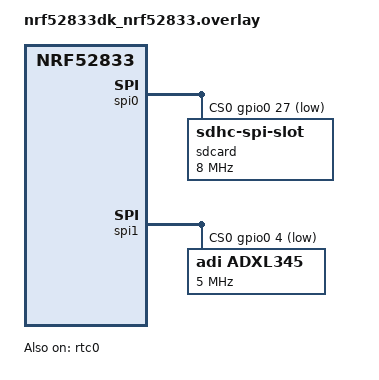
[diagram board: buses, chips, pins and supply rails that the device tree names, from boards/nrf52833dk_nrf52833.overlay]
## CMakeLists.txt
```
#
# Copyright (c) 2024 Nordic Semiconductor
#
# SPDX-License-Identifier: LicenseRef-Nordic-5-Clause
#

cmake_minimum_required(VERSION 3.20.0)
find_package(Zephyr REQUIRED HINTS $ENV{ZEPHYR_BASE})
project(nrf_connect_sdk_intermediate)

target_sources(app PRIVATE
    src/main.c
    src/adxl345.c
    src/sd_card.c
    )
target_include_directories(app PRIVATE ${CMAKE_CURRENT_SOURCE_DIR}/include)
```

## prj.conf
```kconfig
CONFIG_SPI=y
CONFIG_DISK_ACCESS=y
# CONFIG_DISK_ACCESS_sSDMMC=y



CONFIG_FILE_SYSTEM=y
CONFIG_DISK_DRIVERS=y

CONFIG_FS_FATFS_LFN=y
# CONFIG_FS_FATFS_MOUNT=y
CONFIG_FS_FATFS_MOUNT_MKFS=y
CONFIG_FAT_FILESYSTEM_ELM=y


CONFIG_LOG=y
CONFIG_LOG_DEFAULT_LEVEL=3

CONFIG_MAIN_STACK_SIZE=4096

CONFIG_COUNTER=y
```

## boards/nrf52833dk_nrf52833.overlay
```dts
/* STEP 2.1 - Add the SPI peripheral to spi1 */
&i2c0 {status = "disabled";};
// &spi0 {status = "disabled";};
&i2c1 {status = "disabled";};

&rtc0 {
	status = "okay";
};

	// SPI pin configuration
// SPI0 is used for SD card, SPI1 is used for ADXL345 accelerometer
// SPI0: SCK on P0.23, MOSI on P0.2, MISO on P0.26, CS on P0.27
// SPI1: SCK on P0.31, MOSI on P0.30, MISO on P0.29, CS on P0.28

	&spi0 {
		status = "okay";
		cs-gpios = <&gpio0 27 GPIO_ACTIVE_LOW>;
	
		sdcard: spi-dev@0 {
			compatible = "zephyr,sdhc-spi-slot";
			reg = <0>;
			spi-max-frequency = <8000000>; // try between 400kHz - 25MHz
			status = "okay";
	
			mmc {
				compatible = "zephyr,sdmmc-disk";
				disk-name = "SD";
				status = "okay";
			};
		};
	};

&pinctrl {
	spi0_default: spi0_default {
		group1 {
			psels = <NRF_PSEL(SPIM_SCK, 0, 23)>,
			        <NRF_PSEL(SPIM_MOSI, 0, 20)>,
			        <NRF_PSEL(SPIM_MISO, 0, 26)>;
		};
	};

	spi0_sleep: spi0_sleep {
		group1 {
			psels = <NRF_PSEL(SPIM_SCK, 0, 23)>,
			        <NRF_PSEL(SPIM_MOSI, 0, 20)>,
			        <NRF_PSEL(SPIM_MISO, 0, 26)>;
			low-power-enable;
		};
	};
};


&spi1 {
	status = "okay";
	cs-gpios = <&gpio0 4 GPIO_ACTIVE_LOW>; // CS on P0.28

	adxl345: adxl345@0 {
		compatible = "adi,adxl345";
		reg = <0>;  // CS index
		spi-max-frequency = <5000000>; // 5 MHz
		label = "ADXL345";
		spi-cpha;
		spi-cpol;
		interrupt-parent = <&gpio0>;
		// interrupts = <15 GPIO_ACTIVE_HIGH>; // Optional: if using INT1
	};
};

&pinctrl {
	spi1_default: spi1_default {
		group1 {
				psels = <NRF_PSEL(SPIM_SCK, 0, 31)>,
						<NRF_PSEL(SPIM_MOSI, 0, 30)>,
						<NRF_PSEL(SPIM_MISO, 0, 29)>;
		};
	};

	spi1_sleep: spi1_sleep {
		group1 {
				psels = <NRF_PSEL(SPIM_SCK, 0, 31)>,
						<NRF_PSEL(SPIM_MOSI, 0, 30)>,
						<NRF_PSEL(SPIM_MISO, 0, 29)>;
				low-power-enable;
		};
	};
};
```

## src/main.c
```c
#include <zephyr/kernel.h>
#include <zephyr/logging/log.h>

#include <zephyr/device.h>
#include <zephyr/devicetree.h>
#include <zephyr/drivers/gpio.h>

#include "sd_card.h"
#include "adxl345.h"

#include <zephyr/drivers/counter.h>

#define SAMPLE_INTERVAL_US 500  // 800 us = 1.745 kHz

K_SEM_DEFINE(sample_now_sem, 0, 1);

const struct device *counter_dev;


/*
 * SD Card SPI Pin Mapping
 * ------------------------
 * | SD Card Pin | nRF52 Pin |
 * |-------------|------------|
 * | CS          | P0.27      |
 * | SCK         | P0.23      |
 * | MOSI        | P0.20      |
 * | MISO        | P0.26      |
 * | VCC         | 3.3V       |
 * | GND         | GND        |
 *
 * Note:
 * - Ensure VCC is a stable 3.3V (not 3.0V or lower).
 * - Common ground between SD card and nRF52833 is essential.
 * - Pull-up resistors on SD lines are usually not needed for SPI mode.
 */

 /*
 * ADXL345 to nRF52833 SPI Pin Mapping
 *
 * | ADXL345 Pin | nRF52833 Pin     | Notes                  |
 * |-------------|------------------|------------------------|
 * | VCC         | 3.3V             | Use VDD from nRF52833  |
 * | GND         | GND              | Common ground          |
 * | CS          | P0.04            | Controlled by software |
 * | SCL (SCLK)  | P0.31            | SPI clock              |
 * | SDA (MOSI)  | P0.30            | Data from nRF to ADXL  |
 * | SDO (MISO)  | P0.29            | Data from ADXL to nRF  |
 * | INT1        | P0.15 (optional) | If using interrupts    |
 * | INT2        | -                | Not used               |
 */

 LOG_MODULE_REGISTER(interrupt_sampling, LOG_LEVEL_INF);

 static void sample_timer_handler(const struct device *dev,
    uint8_t chan_id,
    uint32_t ticks,
    void *user_data)
{
    ARG_UNUSED(dev);
    ARG_UNUSED(chan_id);
    ARG_UNUSED(ticks);
    ARG_UNUSED(user_data);

    k_sem_give(&sample_now_sem);
    // LOG_INF("Sample timer triggered, re-arming alarm");

    // Re-arm the alarm
    uint32_t now_ticks;
    counter_get_value(counter_dev, &now_ticks);

    struct counter_alarm_cfg alarm_cfg = {
        .ticks = counter_us_to_ticks(counter_dev, SAMPLE_INTERVAL_US) + now_ticks,
        .callback = sample_timer_handler,
        .user_data = NULL,
        .flags = COUNTER_ALARM_CFG_ABSOLUTE,
    };

    int err = counter_set_channel_alarm(counter_dev, chan_id, &alarm_cfg);
    if (err != 0) {
        LOG_ERR("Failed to re-set counter alarm: %d", err);
    }
}



// Buffer sizes and definitions

#define SAMPLE_SIZE 15  // 4 bytes k_cycle + 4 bytes uptime + 3x int16_t + 1 byte checksum = 15 bytes
#define BUFFER_SIZE (SAMPLE_SIZE * 100)  // 100 samples per buffer
#define DELAY_VALUES 1  // Delay in milliseconds

static uint8_t buffer_a[BUFFER_SIZE];
static uint8_t buffer_b[BUFFER_SIZE];

static uint8_t *active_buf = buffer_a;
static uint8_t *flush_buf = buffer_b;

static volatile size_t active_index = 0;
static struct k_sem flush_sem;  // Used to signal SD writer
static struct k_mutex buffer_swap_mutex;
static struct k_sem sd_ready_sem;


// Sampling Thread Configuration
#define STACK_SIZE 2048
#define SAMPLING_THREAD_PRIORITY 4

#define SD_WRITER_STACK_SIZE 2048
#define SD_WRITER_THREAD_PRIORITY 5

K_THREAD_STACK_DEFINE(sampling_stack, STACK_SIZE);
static struct k_thread sampling_thread_data;

// Button interrupt configuration
#define BUTTON_NODE DT_ALIAS(sw0)
static const struct gpio_dt_spec button = GPIO_DT_SPEC_GET(BUTTON_NODE, gpios);
static struct gpio_callback button_cb_data;
volatile bool button_pressed = false;

K_SEM_DEFINE(button_sem, 0, 1);

void button_pressed_isr(const struct device *dev, struct gpio_callback *cb, uint32_t pins)
{
    button_pressed = true;
    LOG_INF("Button pressed! Pin: %d", button.pin);
    k_sem_give(&button_sem);
}

void sd_writer_thread(void *p1, void *p2, void *p3)
{
    LOG_INF("SD writer thread started");
    k_sem_take(&sd_ready_sem, K_FOREVER);  // ✅ Wait until SD is ready
    LOG_INF("SD writer thread is ready to write");

    while (1) {
        k_sem_take(&flush_sem, K_FOREVER);

        int rc = fs_write(&file, flush_buf, BUFFER_SIZE);
        if (rc < 0) {
            LOG_ERR("Failed to write to SD: %d", rc);
        }

        // Sync the file to ensure data is written
        fs_sync(&file);  // Flush to disk after write
    }
}

// ✅ Start background SD writer thread
K_THREAD_DEFINE(sd_tid, SD_WRITER_STACK_SIZE, sd_writer_thread, NULL, NULL, NULL, SD_WRITER_THREAD_PRIORITY, 0, 0);


#define DISCARD_SAMPLE_COUNT 10

void sampling_thread(void *arg1, void *arg2, void *arg3)
{
    int16_t x, y, z;
    uint32_t sample_count = 0;
    int64_t start_time = k_uptime_get();

     // 🔁 Discard the first N samples (noise filter)
     for (int i = 0; i < DISCARD_SAMPLE_COUNT; ++i) {
        if (adxl345_read_xyz(&x, &y, &z) == 0) {
            // Optional: LOG_DBG("Discarded sample %d: X=%d Y=%d Z=%d", i, x, y, z);
        }
        k_msleep(DELAY_VALUES);  // or k_busy_wait(312) for 3.2 kHz
    }

    while (!button_pressed) {
        // LOG_INF("Waiting for sample timer...");
        k_sem_take(&sample_now_sem, K_FOREVER);  // Wait for timer
        if (adxl345_read_xyz(&x, &y, &z) == 0) {
            k_mutex_lock(&buffer_swap_mutex, K_FOREVER);
            

            // LOG_INF("Sample %d: X: %d, Y: %d, Z: %d", sample_count, x, y, z);
            sample_count++;

            uint32_t cycle_ts = k_cycle_get_32();      // High-resolution timestamp
            uint32_t uptime_ts = k_uptime_get_32();    // Millisecond timestamp

            // LOG_INF("Hit sample");
            if (active_index + SAMPLE_SIZE <= BUFFER_SIZE) {
                uint8_t temp_buf[14];  // 4 + 4 + 6 = 14 bytes for CRC calc
                int idx = 0;

                // Add timestamps
                temp_buf[idx++] = cycle_ts & 0xFF;
                temp_buf[idx++] = (cycle_ts >> 8) & 0xFF;
                temp_buf[idx++] = (cycle_ts >> 16) & 0xFF;
                temp_buf[idx++] = (cycle_ts >> 24) & 0xFF;

                temp_buf[idx++] = uptime_ts & 0xFF;
                temp_buf[idx++] = (uptime_ts >> 8) & 0xFF;
                temp_buf[idx++] = (uptime_ts >> 16) & 0xFF;
                temp_buf[idx++] = (uptime_ts >> 24) & 0xFF;

                // Add XYZ
                temp_buf[idx++] = x & 0xFF;
                temp_buf[idx++] = (x >> 8) & 0xFF;
                temp_buf[idx++] = y & 0xFF;
                temp_buf[idx++] = (y >> 8) & 0xFF;
                temp_buf[idx++] = z & 0xFF;
                temp_buf[idx++] = (z >> 8) & 0xFF;

                // Compute XOR checksum
                uint8_t checksum = 0;
                for (int i = 0; i < sizeof(temp_buf); i++) {
                    checksum ^= temp_buf[i];
                }

                // Copy to buffer
                for (int i = 0; i < sizeof(temp_buf); i++) {
                    active_buf[active_index++] = temp_buf[i];
                }

                active_buf[active_index++] = checksum;  // Append checksum
            } else {
                LOG_ERR("Buffer overflow! Active index: %d", active_index);
                // Optional: Trigger early flush
            }

            if (active_index >= BUFFER_SIZE) {
                uint8_t *temp = active_buf;
                active_buf = flush_buf;
                flush_buf = temp;
                active_index = 0;
                k_sem_give(&flush_sem);  // Signal writer thread
            }

            k_mutex_unlock(&buffer_swap_mutex);
        } else {
            LOG_ERR("Failed to read XYZ");
        }

        // For ~1 kHz sampling (adjust as needed)
        // k_msleep(DELAY_VALUES);  // or k_busy_wait(312) for 3.2 kHz
        // LOG_INF("Sample %d taken", sample_count);
    }

    int64_t elapsed = k_uptime_get() - start_time;
    LOG_INF("Samples per second: %d", (1000 * sample_count) / elapsed);
    LOG_INF("Total samples: %d", sample_count);
}

void main(void)
{
    k_sem_init(&sd_ready_sem, 0, 1);

    if (!device_is_ready(button.port)) {
        LOG_ERR("Button device %s is not ready", button.port->name);
        return;
    }
    
    int ret = gpio_pin_configure_dt(&button, GPIO_INPUT);
    if (ret != 0) {
        LOG_ERR("Failed to configure button pin: %d", ret);
        return;
    }
    
    ret = gpio_pin_interrupt_configure_dt(&button, GPIO_INT_EDGE_TO_ACTIVE);
    if (ret != 0) {
        LOG_ERR("Failed to configure interrupt on button pin: %d", ret);
        return;
    }
    
    gpio_init_callback(&button_cb_data, button_pressed_isr, BIT(button.pin));
    gpio_add_callback(button.port, &button_cb_data);
    
    LOG_INF("Button interrupt configured");

    int err;
	
	err = check_spi_ready();
    if (err != 0) {
        LOG_ERR("SPI device not ready!");
        return;
    }

	LOG_INF("SPI device is ready ");

    if (adxl345_init() != 0) {
        LOG_ERR("Sensor init failed\n");
        // return -1;
    }

    int rc = disk_access_init("SD");
    if (rc != 0) {
        LOG_ERR("Disk init error %d\n", rc);
        return;
    }

    memset(&fat_fs, 0, sizeof(fat_fs));

    // delay to allow the SD card to stabilize
    k_msleep(1000);

    const struct device *sd_dev = DEVICE_DT_GET(DT_NODELABEL(sdcard));
    if (!device_is_ready(sd_dev)) {
        LOG_ERR("SD card device not ready!\n");
        return;
    }
    
    rc = fs_mount(&fatfs_mnt);
    if (rc == 0) {
        LOG_INF("SD card mounted at %s\n", fatfs_mnt.mnt_point);
    } else {
        LOG_ERR("Failed to mount SD card: %d\n", rc);
        return;
    }

    ret = fs_unlink("/SD:/test.bin");
    if (ret == 0) {
        LOG_INF("File deleted successfully.");
    } else {
        LOG_ERR("Failed to delete file: %d", ret);
    }

    fs_file_t_init(&file);
    rc = fs_open(&file, "/SD:/test.bin", FS_O_CREATE | FS_O_WRITE | FS_O_APPEND);
    

    k_sem_give(&sd_ready_sem);  // ✅ Signal SD writer thread to proceed
    LOG_INF("SD writer thread started and ready to write");

    // ✅ Init semaphores and mutexes
    k_sem_init(&flush_sem, 0, 1);
    k_mutex_init(&buffer_swap_mutex);

    counter_dev = DEVICE_DT_GET(DT_INST(0, nordic_nrf_rtc));  // rtc0

    if (!device_is_ready(counter_dev)) {
        LOG_ERR("Counter device not ready");
        return;
    }

    struct counter_alarm_cfg alarm_cfg = {
        .ticks = counter_us_to_ticks(counter_dev, SAMPLE_INTERVAL_US),
        .callback = sample_timer_handler,
        .user_data = NULL,
        .flags = COUNTER_ALARM_CFG_ABSOLUTE,
    };

    err = counter_start(counter_dev);
    if (err != 0) {
        LOG_ERR("Failed to start counter: %d", err);
        return;
    }

    err = counter_set_channel_alarm(counter_dev, 0, &alarm_cfg);
    if (err != 0) {
        LOG_ERR("Failed to set counter alarm: %d", err);
        return;
    }

    LOG_INF("Sampling timer started at %d us interval", SAMPLE_INTERVAL_US);


    // Create the sampling thread
    k_thread_create(&sampling_thread_data, sampling_stack,
        K_THREAD_STACK_SIZEOF(sampling_stack),
        sampling_thread,
        NULL, NULL, NULL,
        SAMPLING_THREAD_PRIORITY, 0, K_NO_WAIT);

    LOG_INF("Sampling thread started");

    // Wait forever until button is pressed
    k_sem_take(&button_sem, K_FOREVER);

    LOG_INF("Button pressed, exiting main loop.");
    fs_unmount(&fatfs_mnt);
    LOG_INF("Unmounted SD card.");
    gpio_remove_callback(button.port, &button_cb_data);
    LOG_INF("Button callback removed.");
    // Optionally, you can also close the file if it was opened
    fs_file_t_init(&file);
    fs_close(&file);
    LOG_INF("File closed.");
    // Optionally, you can also unmount the filesystem
    // fs_unmount(&fatfs_mnt);
    LOG_INF("Filesystem unmounted.");
    // Optionally, you can also reset the ADXL345 sensor
    // adxl345_write_reg(ADXL345_POWER_CTL_REG, 0x00); // Power down
    // LOG_INF("ADXL345 sensor powered down.");
    // Optionally, you can also reset the SPI device
    release_spi();
    LOG_INF("SPI device released.");
    // Optionally, you can also reset the SD card device
    const struct device *sdcard_dev = DEVICE_DT_GET(DT_NODELABEL(sdcard));
    if (device_is_ready(sdcard_dev)) {
        // Reset or reinitialize the SD card device if needed
        LOG_INF("SD card device is ready for reset.");
    } else {
        LOG_ERR("SD card device is not ready for reset.");
    }
    LOG_INF("Main function completed.");
    // Optionally, you can also reset the button device
    const struct device *button_dev = button.port;
    if (device_is_ready(button_dev)) {
        // Reset or reinitialize the button device if needed
        LOG_INF("Button device is ready for reset.");
    } else {
        LOG_ERR("Button device is not ready for reset.");
    }
    LOG_INF("Button device reset completed.");
    // Optionally, you can also reset the GPIO subsystem
    const struct device *gpio_dev = DEVICE_DT_GET(DT_NODELABEL(gpio0));
    if (device_is_ready(gpio_dev)) {
        // Reset or reinitialize the GPIO subsystem if needed
        LOG_INF("GPIO subsystem is ready for reset.");
    } else {
        LOG_ERR("GPIO subsystem is not ready for reset.");
    }
    LOG_INF("GPIO subsystem reset completed.");   
}
```

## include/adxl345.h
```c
#pragma once

#include <zephyr/device.h>
#include <zephyr/drivers/spi.h>

#define ADXL345_DEVID_REG       0x00
#define ADXL345_POWER_CTL_REG   0x2D
#define ADXL345_DATA_FORMAT_REG 0x31
#define ADXL345_BW_RATE_REG     0x2C

// #define ADXL345_DEVID           0xE5
#define ADXL345_DEVID           0xCB
#define ADXL345_MEASURE         0x08
#define ADXL345_RANGE_2G        0x00
#define ADXL345_RATE_100HZ      0x0A  // Output Data Rate = 100 Hz
#define ADXL345_RATE_3200HZ     0x0F  // Output Data Rate =  3200 Hz


#define SPIOP	SPI_WORD_SET(8) | SPI_TRANSFER_MSB
#define ADXL345_REG_DATAX0 0x32
#define ADXL345_READ_MULTI (1 << 7 | 1 << 6)  // bit7=Read, bit6=Multi-byte

// struct spi_dt_spec spispec;
int check_spi_ready(void);
int release_spi(void);

int adxl345_spi_read_reg(uint8_t reg_addr, uint8_t *val);
int adxl345_read_xyz(int16_t *x, int16_t *y, int16_t *z);
int adxl345_write_reg(uint8_t reg, uint8_t val);
int adxl345_read_reg(uint8_t reg, uint8_t *val);
int adxl345_init(void);
```

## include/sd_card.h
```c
#pragma once

#include <zephyr/device.h>
#include <zephyr/drivers/spi.h>
#include <zephyr/fs/fs.h>
#include <zephyr/storage/disk_access.h>
#include <ff.h>

// Only declarations here!
extern FATFS fat_fs;
extern struct fs_file_t file;
extern struct fs_mount_t fatfs_mnt;
```

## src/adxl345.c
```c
#include "adxl345.h"
#include <zephyr/kernel.h>
#include <zephyr/logging/log.h>
LOG_MODULE_REGISTER(adxl345, LOG_LEVEL_DBG);



struct spi_dt_spec spispec = SPI_DT_SPEC_GET(DT_NODELABEL(adxl345), SPIOP, 0);

int check_spi_ready(void)
{
    if (!spi_is_ready_dt(&spispec)) {
        LOG_ERR("SPI device not ready!");
        return -ENODEV;
    }
    return 0;
}

int release_spi(void)
{
    spi_release_dt(&spispec);
    LOG_INF("SPI device released.");
    return 0;
}


int adxl345_spi_read_reg(uint8_t reg_addr, uint8_t *val)
{
    uint8_t tx_buf[2] = { reg_addr | 0x80, 0x00 };  // Set read bit
    uint8_t rx_buf[2] = { 0 };

    struct spi_buf tx = {
        .buf = tx_buf,
        .len = 2
    };
    struct spi_buf rx = {
        .buf = rx_buf,
        .len = 2
    };

    struct spi_buf_set tx_set = {
        .buffers = &tx,
        .count = 1
    };
    struct spi_buf_set rx_set = {
        .buffers = &rx,
        .count = 1
    };

    int ret = spi_transceive_dt(&spispec, &tx_set, &rx_set);
    if (ret == 0) {
        *val = rx_buf[1];  // second byte is data
    }
    return ret;
}

int adxl345_read_xyz(int16_t *x, int16_t *y, int16_t *z)
{
    uint8_t tx_buf[7] = { ADXL345_REG_DATAX0 | ADXL345_READ_MULTI };  // 1-byte cmd + 6 dummy
    uint8_t rx_buf[7] = { 0 };

    struct spi_buf tx = {
        .buf = tx_buf,
        .len = 7
    };
    struct spi_buf rx = {
        .buf = rx_buf,
        .len = 7
    };

    struct spi_buf_set tx_set = { .buffers = &tx, .count = 1 };
    struct spi_buf_set rx_set = { .buffers = &rx, .count = 1 };

    int ret = spi_transceive_dt(&spispec, &tx_set, &rx_set);
    if (ret != 0) {
        return ret;
    }

    // Combine little-endian bytes
    *x = (int16_t)((rx_buf[2] << 8) | rx_buf[1]);
    *y = (int16_t)((rx_buf[4] << 8) | rx_buf[3]);
    *z = (int16_t)((rx_buf[6] << 8) | rx_buf[5]);

    return 0;
}

int adxl345_write_reg(uint8_t reg, uint8_t val)
{
    uint8_t tx_buf[] = { reg & 0x3F, val };  // Write command
    struct spi_buf tx = { .buf = tx_buf, .len = 2 };
    struct spi_buf_set tx_set = { .buffers = &tx, .count = 1 };
    return spi_write_dt(&spispec, &tx_set);
}

int adxl345_read_reg(uint8_t reg, uint8_t *val)
{
    uint8_t tx_buf[2] = { reg | 0x80, 0x00 };  // Read command
    uint8_t rx_buf[2] = { 0 };

    struct spi_buf tx = { .buf = tx_buf, .len = 2 };
    struct spi_buf rx = { .buf = rx_buf, .len = 2 };
    struct spi_buf_set tx_set = { .buffers = &tx, .count = 1 };
    struct spi_buf_set rx_set = { .buffers = &rx, .count = 1 };

    int ret = spi_transceive_dt(&spispec, &tx_set, &rx_set);
    if (ret == 0) *val = rx_buf[1];
    return ret;
}

int adxl345_init(void)
{
    if (!spi_is_ready_dt(&spispec)) {
        LOG_ERR("SPI device not ready!\n");
        return -ENODEV;
    }

    uint8_t devid;
    int ret = adxl345_read_reg(ADXL345_DEVID_REG, &devid);
    if (ret != 0 || devid != ADXL345_DEVID) {
        LOG_ERR("ADXL345 not detected! Read 0x%02X\n", devid);
        return -EIO;
    }

    LOG_INF("ADXL345 detected. DEVID: 0x%02X\n", devid);

    // Set BW_RATE to 100 Hz
    if (adxl345_write_reg(ADXL345_BW_RATE_REG, ADXL345_RATE_3200HZ)) {
        LOG_ERR("Failed to set BW_RATE\n");
        return -EIO;
    }

    // Set data format to ±2g, right-justified, full-res disabled
    if (adxl345_write_reg(ADXL345_DATA_FORMAT_REG, ADXL345_RANGE_2G)) {
        LOG_ERR("Failed to set data format\n");
        return -EIO;
    }

    // Enable measurement mode
    if (adxl345_write_reg(ADXL345_POWER_CTL_REG, ADXL345_MEASURE)) {
        LOG_ERR("Failed to enable measurement\n");
        return -EIO;
    }

    LOG_INF("ADXL345 initialization complete.\n");
    return 0;
}
```

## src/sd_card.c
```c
#include "sd_card.h"
#include <zephyr/logging/log.h>

LOG_MODULE_REGISTER(sd_card, LOG_LEVEL_DBG);

// ✅ Now this is the only place where they're defined
FATFS fat_fs;
struct fs_file_t file;

struct fs_mount_t fatfs_mnt = {
    .type = FS_FATFS,
    .mnt_point = "/SD:",
    .fs_data = &fat_fs,
    .storage_dev = (void *)DEVICE_DT_GET(DT_NODELABEL(sdcard)),
};
```
